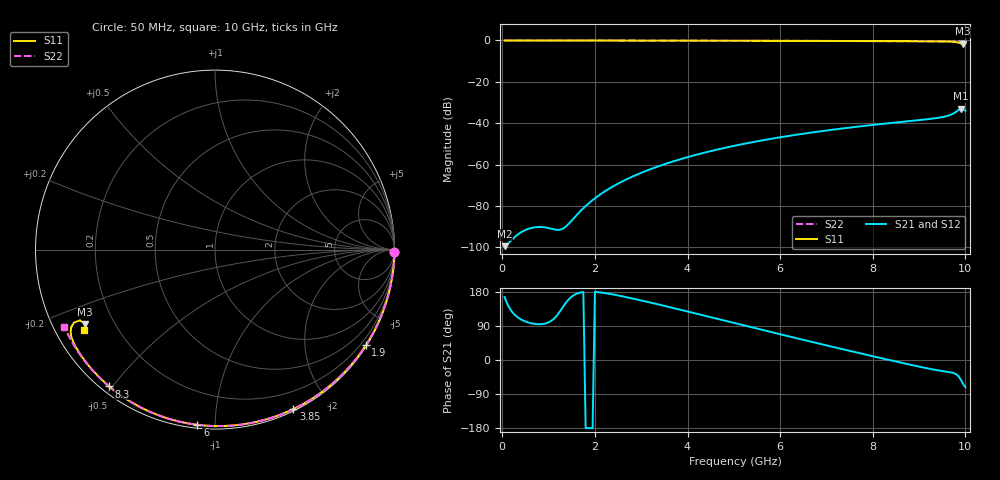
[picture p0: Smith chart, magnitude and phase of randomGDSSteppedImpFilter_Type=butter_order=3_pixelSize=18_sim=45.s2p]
! freq	dB(S11)	phase(S11)	dB(S12)	phase(S12)
!  dB(S21)	phase(S21)	dB(S22)	phase(S22)
!S-par simulation data
#  GHz  S  DB  R 50
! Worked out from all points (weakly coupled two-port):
!   200 points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, 50 MHz to 10 GHz, reference 50 ohm
!   highest |S21| = -32.95 dB at 9.9 GHz (marker M1); lowest = -99.5 dB at 50 MHz (marker M2)
!   lowest |S11| = -1.6 dB at 9.95 GHz (marker M3), VSWR 11.04, Z = 4.85 - j13.2 ohm
!   |S11| at or under -10 dB: nowhere
!   |S22| runs from -0.5 to 0.0 dB; largest |S21 - S12| = 0
!   S11 on the Smith chart (normalised r, x): 50 MHz: open; 1.9 GHz: 0.03, -3.44; 3.85 GHz: 0.02, -1.61; 6 GHz: 0.02, -0.90; 8.3 GHz: 0.02, -0.49; 10 GHz: 0.09, -0.28
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0.05  -0.00 -0.9  -99.48 166.2  -99.48 166.2  -0.00 -0.9
0.9  -0.02 -15.5  -90.33 95.5  -90.33 95.5  -0.02 -15.9
1.75  -0.04 -29.9  -81.11 179.4  -81.11 179.4  -0.04 -30.7
1.8  -0.04 -30.7  -80.06 -180.0  -80.06 -180.0  -0.04 -31.5
1.9  -0.04 -32.4  -78.11 -179.7  -78.11 -179.7  -0.04 -33.2
2.2  -0.05 -37.4  -73.18 176.8  -73.18 176.8  -0.05 -38.3
2.55  -0.06 -43.1  -68.64 169.1  -68.64 169.1  -0.06 -44.2
2.95  -0.06 -49.6  -64.48 158.5  -64.48 158.5  -0.07 -50.8
3.4  -0.08 -56.8  -60.63 145.7  -60.63 145.7  -0.08 -58.1
3.85  -0.09 -63.8  -57.40 132.5  -57.40 132.5  -0.09 -65.3
5.05  -0.13 -82.0  -50.74 96.4  -50.74 96.4  -0.13 -83.8
6  -0.17 -95.7  -46.82 67.9  -46.82 67.9  -0.17 -97.7
6.7  -0.21 -105.6  -44.45 47.3  -44.45 47.3  -0.21 -107.7
7.5  -0.26 -116.7  -42.14 24.1  -42.14 24.1  -0.26 -118.8
8.3  -0.32 -127.7  -40.13 1.5  -40.13 1.5  -0.33 -129.7
8.35  -0.33 -128.4  -40.01 0.1  -40.01 0.1  -0.33 -130.3
9.5  -0.48 -145.2  -37.08 -29.2  -37.08 -29.2  -0.45 -145.9
9.65  -0.55 -148.0  -36.22 -31.9  -36.22 -31.9  -0.47 -148.0
9.8  -0.81 -151.6  -34.46 -37.3  -34.46 -37.3  -0.48 -150.0
9.9  -1.42 -152.3  -32.95 -51.7  -32.95 -51.7  -0.49 -151.4
9.95  -1.58 -150.1  -33.11 -63.2  -33.11 -63.2  -0.50 -152.1
10  -1.38 -148.5  -34.08 -71.6  -34.08 -71.6  -0.51 -152.8
